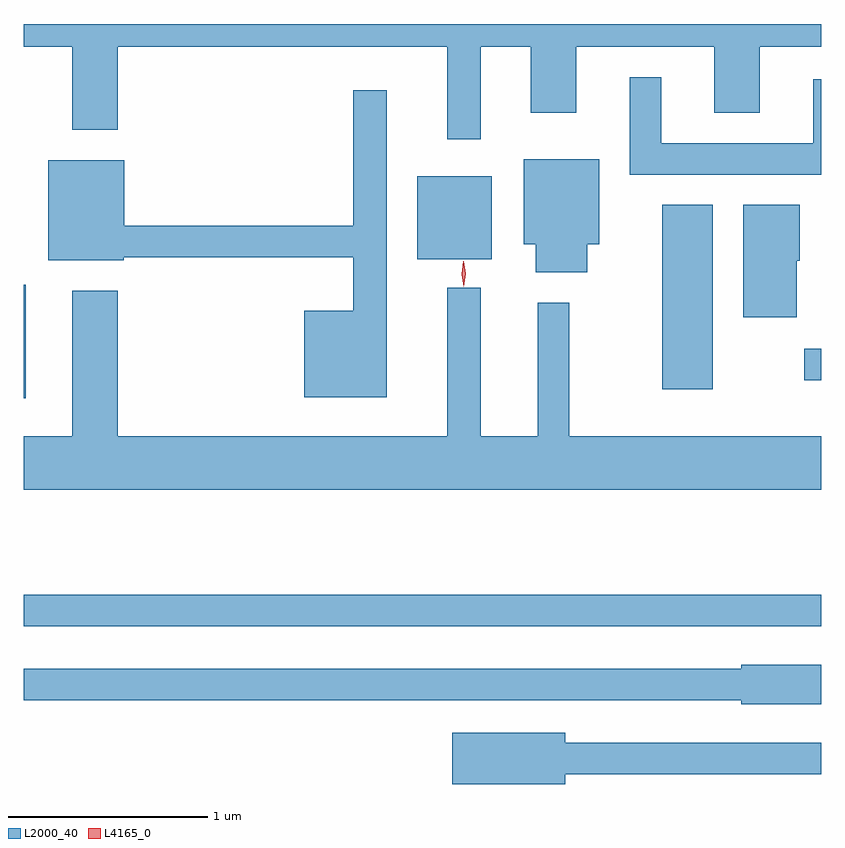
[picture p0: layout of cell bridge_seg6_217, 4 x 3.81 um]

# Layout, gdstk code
import gdstk
lib = gdstk.Library(unit=1e-6, precision=1e-09)
def R(c, l, rs):  # rectangles x0, y0, x1, y1
    for r in rs: c.add(gdstk.rectangle(r[:2], r[2:], *l))
def P(c, l, *ps):  # polygons
    for p in ps: c.add(gdstk.Polygon(p, *l))
L2000_40 = (2000, 40)
L4165_0 = (4165, 0)

bridge_seg6_217 = lib.new_cell('bridge_seg6_217')
R(bridge_seg6_217, L2000_40, [(1082.648,1540.471,1086.648,1540.629), (1082.648,1541.616,1082.659,1542.184), (1085.851,1541.661,1086.104,1542.584), (1086.563,1541.706,1086.648,1541.864), (1084.621,1542.311,1084.994,1542.729)])
P(bridge_seg6_217, L2000_40, [(1082.648,1543.376),(1082.891,1543.376),(1082.891,1542.961),(1083.119,1542.961),(1083.119,1543.376),(1084.771,1543.376),(1084.771,1542.913),(1084.939,1542.913),(1084.939,1543.376),(1085.191,1543.376),(1085.191,1543.046),(1085.419,1543.046),(1085.419,1543.376),(1086.111,1543.376),(1086.111,1543.046),(1086.339,1543.046),(1086.339,1543.376),(1086.648,1543.376),(1086.648,1543.491),(1082.648,1543.491)],
  [(1086.648,1543.214),(1086.606,1543.214),(1086.606,1542.894),(1085.844,1542.894),(1085.844,1543.223),(1085.686,1543.223),(1085.686,1542.736),(1086.648,1542.736)],
  [(1084.469,1543.158),(1084.301,1543.158),(1084.301,1542.479),(1083.154,1542.479),(1083.154,1542.809),(1082.771,1542.809),(1082.771,1542.306),(1083.15,1542.306),(1083.15,1542.321),(1084.301,1542.321),(1084.301,1542.054),(1084.056,1542.054),(1084.056,1541.621),(1084.469,1541.621)],
  [(1085.474,1542.386),(1085.534,1542.386),(1085.534,1542.814),(1085.156,1542.814),(1085.156,1542.386),(1085.216,1542.386),(1085.216,1542.246),(1085.474,1542.246)],
  [(1086.524,1542.305),(1086.539,1542.305),(1086.539,1542.584),(1086.256,1542.584),(1086.256,1542.021),(1086.524,1542.021)],
  [(1086.648,1541.424),(1085.384,1541.424),(1085.384,1542.093),(1085.226,1542.093),(1085.226,1541.424),(1084.939,1541.424),(1084.939,1542.168),(1084.771,1542.168),(1084.771,1541.424),(1083.119,1541.424),(1083.119,1542.154),(1082.891,1542.154),(1082.891,1541.424),(1082.648,1541.424),(1082.648,1541.156),(1086.648,1541.156)],
  [(1086.648,1540.279),(1086.246,1540.279),(1086.246,1540.259),(1082.648,1540.259),(1082.648,1540.101),(1086.246,1540.101),(1086.246,1540.081),(1086.648,1540.081)],
  [(1085.364,1539.731),(1086.648,1539.731),(1086.648,1539.889),(1085.364,1539.889),(1085.364,1539.939),(1084.796,1539.939),(1084.796,1539.681),(1085.364,1539.681)])
P(bridge_seg6_217, L4165_0, [(1084.854,1542.173),(1084.854,1542.174),(1084.844,1542.237),(1084.853,1542.302),(1084.854,1542.302),(1084.854,1542.302),(1084.864,1542.238),(1084.855,1542.174)])

lib.write_gds('bridge_seg6_217.gds')
